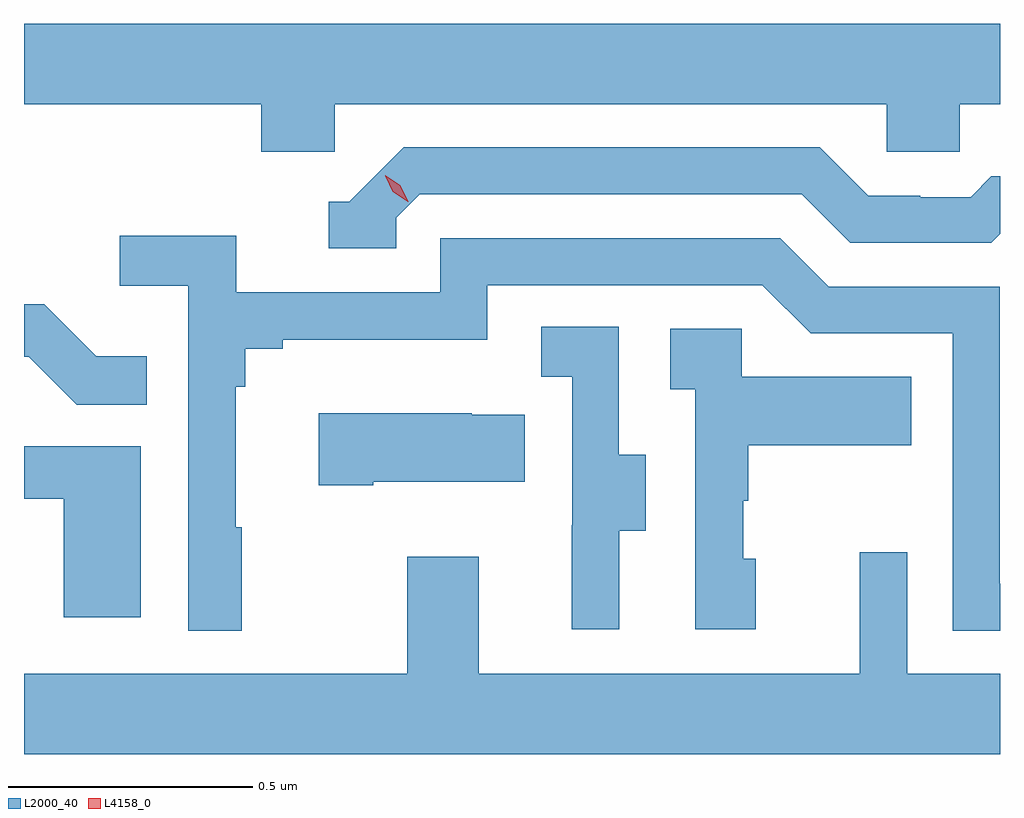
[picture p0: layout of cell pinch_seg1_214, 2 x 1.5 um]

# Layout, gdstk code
import gdstk
lib = gdstk.Library(unit=1e-6, precision=1e-09)
def P(c, l, *ps):  # polygons
    for p in ps: c.add(gdstk.Polygon(p, *l))
L2000_40 = (2000, 40)
L4158_0 = (4158, 0)

pinch_seg1_214 = lib.new_cell('pinch_seg1_214')
P(pinch_seg1_214, L2000_40, [(952.446,575.708),(953.577,575.708),(953.577,575.61),(953.727,575.61),(953.727,575.708),(953.809,575.708),(953.809,575.872),(951.809,575.872),(951.809,575.708),(952.295,575.708),(952.295,575.61),(952.446,575.61)],
  [(952.572,575.475),(952.62,575.523),(953.403,575.523),(953.502,575.424),(953.791,575.424),(953.809,575.442),(953.809,575.56),(953.791,575.56),(953.749,575.517),(953.646,575.517),(953.646,575.52),(953.539,575.52),(953.44,575.619),(952.587,575.619),(952.476,575.508),(952.433,575.508),(952.433,575.412),(952.572,575.412)],
  [(952.255,574.841),(952.243,574.841),(952.243,575.129),(952.262,575.129),(952.262,575.206),(952.339,575.206),(952.339,575.225),(952.758,575.225),(952.758,575.337),(953.322,575.337),(953.421,575.238),(953.712,575.238),(953.712,574.629),(953.809,574.629),(953.809,574.725),(953.808,574.725),(953.808,575.334),(953.458,575.334),(953.359,575.433),(952.662,575.433),(952.662,575.322),(952.244,575.322),(952.244,575.438),(952.005,575.438),(952.005,575.336),(952.146,575.336),(952.146,574.629),(952.255,574.629)],
  [(952.061,575.191),(951.957,575.191),(951.85,575.298),(951.809,575.298),(951.809,575.19),(951.819,575.19),(951.917,575.092),(952.061,575.092)],
  [(953.029,574.834),(953.083,574.834),(953.083,574.989),(953.028,574.989),(953.028,575.252),(952.869,575.252),(952.869,575.149),(952.932,575.149),(952.932,574.845),(952.931,574.845),(952.931,574.632),(953.029,574.632)],
  [(953.308,574.776),(953.283,574.776),(953.283,574.895),(953.293,574.895),(953.293,575.009),(953.627,575.009),(953.627,575.149),(953.28,575.149),(953.28,575.247),(953.133,575.247),(953.133,575.123),(953.184,575.123),(953.184,574.632),(953.308,574.632)],
  [(952.525,574.934),(952.835,574.934),(952.835,575.071),(952.727,575.071),(952.727,575.074),(952.413,575.074),(952.413,574.927),(952.525,574.927)],
  [(952.048,575.007),(951.809,575.007),(951.809,574.899),(951.89,574.899),(951.89,574.656),(952.048,574.656)],
  [(953.809,574.54),(953.619,574.54),(953.619,574.789),(953.522,574.789),(953.522,574.54),(952.741,574.54),(952.741,574.78),(952.594,574.78),(952.594,574.54),(951.809,574.54),(951.809,574.376),(953.809,574.376)])
P(pinch_seg1_214, L4158_0, [(952.595,575.508),(952.565,575.528),(952.549,575.561),(952.549,575.562),(952.549,575.562),(952.58,575.542),(952.596,575.509),(952.596,575.508)])

lib.write_gds('pinch_seg1_214.gds')
